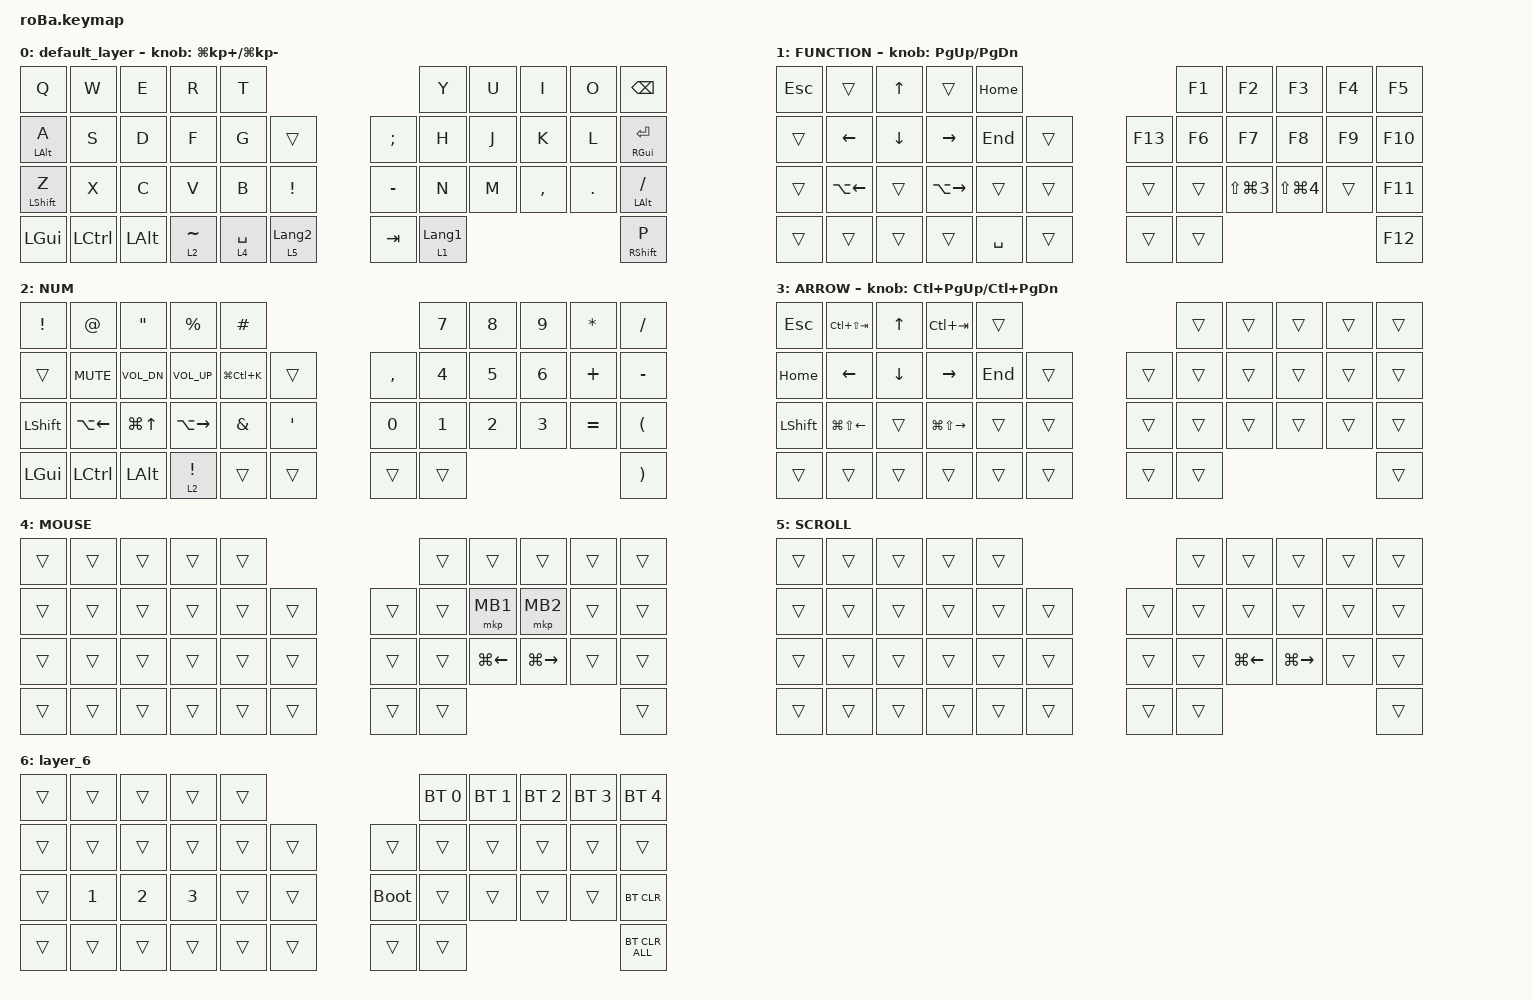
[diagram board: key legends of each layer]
#include <behaviors.dtsi>
#include <dt-bindings/zmk/bt.h>
#include <dt-bindings/zmk/keys.h>
#include <dt-bindings/zmk/pointing.h>

#define MOUSE 4
#define SCROLL 5
#define NUM 6

&mt {
    flavor = "balanced";
    quick-tap-ms = <0>;
};

/ {
    combos {
        compatible = "zmk,combos";

        tab {
            bindings = <&kp TAB>;
            key-positions = <11 12>;
        };

        shift_tab {
            bindings = <&kp LS(TAB)>;
            key-positions = <12 13>;
        };

        muhennkann {
            bindings = <&to_layer_0 INT_MUHENKAN>;
            key-positions = <11 10>;
        };

        double_quotation {
            bindings = <&kp DOUBLE_QUOTES>;
            key-positions = <20 21>;
        };

        eq {
            bindings = <&kp EQUAL>;
            key-positions = <24 25>;
        };
    };

    macros {
        to_layer_0: to_layer_0 {
            compatible = "zmk,behavior-macro-one-param";
            #binding-cells = <1>;
            bindings = <&to 0 &macro_param_1to1 &kp MACRO_PLACEHOLDER>;
            label = "TO_LAYER_0";
        };
    };

    behaviors {
        lt_to_layer_0: lt_to_layer_0 {
            compatible = "zmk,behavior-hold-tap";
            label = "LAYER_TAP_TO_0";
            bindings = <&mo>, <&to_layer_0>;

            #binding-cells = <2>;
            tapping-term-ms = <200>;
        };
    };

    keymap {
        compatible = "zmk,keymap";

        default_layer {
            bindings = <
&kp Q             &kp W      &kp E         &kp R                   &kp T                                                               &kp Y                        &kp U  &kp I      &kp O    &kp BACKSPACE
&mt LEFT_ALT A    &kp S      &kp D         &kp F                   &kp G                   &trans                           &kp SEMI   &kp H                        &kp J  &kp K      &kp L    &mt RIGHT_GUI ENTER
&mt LEFT_SHIFT Z  &kp X      &kp C         &kp V                   &kp B                   &kp EXCLAMATION                  &kp MINUS  &kp N                        &kp M  &kp COMMA  &kp DOT  &mt LEFT_ALT FSLH
&kp LEFT_GUI      &kp LCTRL  &kp LEFT_ALT  &lt_to_layer_0 2 TILDE  &lt_to_layer_0 4 SPACE  &lt_to_layer_0 5 LANGUAGE_2      &kp TAB    &lt_to_layer_0 1 LANGUAGE_1                             &mt RIGHT_SHIFT P
            >;

            sensor-bindings = <&inc_dec_kp LG(KP_PLUS) LG(KP_MINUS)>;
        };

        FUNCTION {
            bindings = <
&kp ESC  &trans              &kp UP          &trans               &kp HOME                        &kp F1  &kp F2                &kp F3                &kp F4  &kp F5
&trans   &kp LEFT            &kp DOWN_ARROW  &kp RIGHT_ARROW      &kp END    &trans      &kp F13  &kp F6  &kp F7                &kp F8                &kp F9  &kp F10
&trans   &kp LA(LEFT_ARROW)  &trans          &kp LA(RIGHT_ARROW)  &trans     &trans      &trans   &trans  &kp LS(LG(NUMBER_3))  &kp LS(LG(NUMBER_4))  &trans  &kp F11
&trans   &trans              &trans          &trans               &kp SPACE  &trans      &trans   &trans                                                      &kp F12
            >;

            sensor-bindings = <&inc_dec_kp PAGE_UP PAGE_DOWN>;
        };

        NUM {
            bindings = <
&kp EXCL        &kp AT              &kp DOUBLE_QUOTES  &kp PRCNT                     &kp POUND                              &kp N7        &kp N8        &kp N9        &kp ASTERISK  &kp SLASH
&trans          &kp K_MUTE          &kp C_VOL_DN       &kp C_VOLUME_UP               &kp LG(LC(K))  &trans       &kp COMMA  &kp NUMBER_4  &kp N5        &kp NUMBER_6  &kp PLUS      &kp MINUS
&kp LEFT_SHIFT  &kp LA(LEFT_ARROW)  &kp LG(UP)         &kp LA(RIGHT)                 &kp AMPS       &kp SQT      &kp N0     &kp NUMBER_1  &kp NUMBER_2  &kp NUMBER_3  &kp EQUAL     &kp LPAR
&kp LEFT_GUI    &kp LCTRL           &kp LEFT_ALT       &lt_to_layer_0 2 EXCLAMATION  &trans         &trans       &trans     &trans                                                  &kp RPAR
            >;
        };

        ARROW {
            bindings = <
&kp ESCAPE      &kp LC(LS(TAB))         &kp UP_ARROW    &kp LC(TAB)              &trans                       &trans  &trans  &trans  &trans  &trans
&kp HOME        &kp LEFT_ARROW          &kp DOWN_ARROW  &kp RIGHT_ARROW          &kp END  &trans      &trans  &trans  &trans  &trans  &trans  &trans
&kp LEFT_SHIFT  &kp LG(LS(LEFT_ARROW))  &trans          &kp LG(LS(RIGHT_ARROW))  &trans   &trans      &trans  &trans  &trans  &trans  &trans  &trans
&trans          &trans                  &trans          &trans                   &trans   &trans      &trans  &trans                          &trans
            >;

            sensor-bindings = <&inc_dec_kp LC(PAGE_UP) LC(PAGE_DOWN)>;
        };

        MOUSE {
            bindings = <
&trans  &trans  &trans  &trans  &trans                      &trans  &trans              &trans               &trans  &trans
&trans  &trans  &trans  &trans  &trans  &trans      &trans  &trans  &mkp MB1            &mkp MB2             &trans  &trans
&trans  &trans  &trans  &trans  &trans  &trans      &trans  &trans  &kp LG(LEFT_ARROW)  &kp LG(RIGHT_ARROW)  &trans  &trans
&trans  &trans  &trans  &trans  &trans  &trans      &trans  &trans                                                   &trans
            >;
        };

        SCROLL {
            bindings = <
&trans  &trans  &trans  &trans  &trans                      &trans  &trans              &trans         &trans  &trans
&trans  &trans  &trans  &trans  &trans  &trans      &trans  &trans  &trans              &trans         &trans  &trans
&trans  &trans  &trans  &trans  &trans  &trans      &trans  &trans  &kp LG(LEFT_ARROW)  &kp LG(RIGHT)  &trans  &trans
&trans  &trans  &trans  &trans  &trans  &trans      &trans  &trans                                             &trans
            >;
        };

        layer_6 {
            bindings = <
&trans  &trans        &trans        &trans        &trans                           &bt BT_SEL 0  &bt BT_SEL 1  &bt BT_SEL 2  &bt BT_SEL 3  &bt BT_SEL 4
&trans  &trans        &trans        &trans        &trans  &trans      &trans       &trans        &trans        &trans        &trans        &trans
&trans  &kp NUMBER_1  &kp NUMBER_2  &kp NUMBER_3  &trans  &trans      &bootloader  &trans        &trans        &trans        &trans        &bt BT_CLR
&trans  &trans        &trans        &trans        &trans  &trans      &trans       &trans                                                  &bt BT_CLR_ALL
            >;
        };
    };
};
